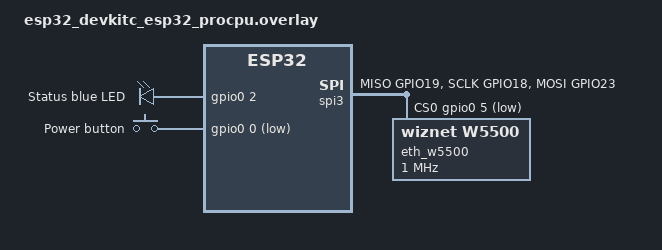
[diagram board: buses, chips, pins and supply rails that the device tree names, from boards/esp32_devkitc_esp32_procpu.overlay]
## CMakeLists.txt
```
cmake_minimum_required(VERSION 3.20.0)

find_package(Zephyr REQUIRED HINTS $ENV{ZEPHYR_BASE})
project(mqtt_field_bridge_app)

target_sources(app PRIVATE
  src/main.c
  src/product_config.c
  src/product_runtime.c
  src/product_topics.c
  src/product_console.c
  src/product_status_io.c
  src/bridge_control.c
  src/provisioning_http.c
  src/product_ethernet.c
)

target_include_directories(app PRIVATE src)
```

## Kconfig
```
source "Kconfig.zephyr"

config FIELD_BRIDGE_WIFI_TEST_PROFILE
	bool "Field bridge WiFi Linux AP hardware test profile"
	default n
	help
	  Use WiFi-oriented test defaults for hardware validation on ESP32
	  boards without W5500 modules.

config FIELD_BRIDGE_WIFI_STA_SSID
	string "Field bridge WiFi STA SSID"
	default ""

config FIELD_BRIDGE_WIFI_STA_PASSWORD
	string "Field bridge WiFi STA password"
	default ""

config FIELD_BRIDGE_WIFI_AP_SSID
	string "Field bridge WiFi SoftAP SSID"
	default ""

config FIELD_BRIDGE_WIFI_AP_PASSWORD
	string "Field bridge WiFi SoftAP password"
	default "open"

config FIELD_BRIDGE_WIFI_STATIC_PREFIX
	string "Field bridge WiFi static IPv4 prefix"
	default "10.88.0"

config FIELD_BRIDGE_WIFI_STATIC_GATEWAY
	string "Field bridge WiFi static IPv4 gateway"
	default "10.88.0.1"

config FIELD_BRIDGE_WIFI_STATIC_NETMASK
	string "Field bridge WiFi static IPv4 netmask"
	default "255.255.255.0"
```

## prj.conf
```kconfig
# Networking
CONFIG_NETWORKING=y
CONFIG_NET_TCP=y
CONFIG_NET_SOCKETS=y
CONFIG_NET_IPV4=y
CONFIG_NET_IPV6=n

# Ethernet network path
CONFIG_NET_L2_ETHERNET=y
CONFIG_NET_L2_ETHERNET_MGMT=y
CONFIG_ETH_W5500=y
CONFIG_SPI=y
CONFIG_GPIO=y
CONFIG_DEPHY_ETH=y

CONFIG_NET_DHCPV4=y
CONFIG_NET_IF_MAX_IPV4_COUNT=1
CONFIG_NET_IF_UNICAST_IPV4_ADDR_COUNT=2
CONFIG_NET_MGMT=y
CONFIG_NET_MGMT_EVENT=y
CONFIG_NET_MGMT_EVENT_INFO=y
CONFIG_HWINFO=y
CONFIG_NET_MAX_CONN=14
CONFIG_NET_MAX_CONTEXTS=16
CONFIG_ZVFS_OPEN_ADD_SIZE_NET=20
CONFIG_NET_ARP_TABLE_SIZE=8
CONFIG_NET_ARP_GRATUITOUS=y
CONFIG_NET_PKT_RX_COUNT=10
CONFIG_NET_PKT_TX_COUNT=10
CONFIG_NET_BUF_RX_COUNT=22
CONFIG_NET_BUF_TX_COUNT=22
# Ethernet provisioning web UI/API.
CONFIG_HTTP_SERVER=y
CONFIG_HTTP_SERVER_VERSION_1=y
CONFIG_HTTP_SERVER_VERSION_2=n
CONFIG_HTTP_SERVER_VERSION_3=n
CONFIG_HTTP_SERVER_NUM_SERVICES=1
CONFIG_HTTP_SERVER_MAX_CLIENTS=2
CONFIG_HTTP_SERVER_MAX_STREAMS=2
CONFIG_HTTP_SERVER_CLIENT_BUFFER_SIZE=768
CONFIG_HTTP_SERVER_MAX_URL_LENGTH=128
CONFIG_HTTP_SERVER_MAX_HEADER_LEN=64
CONFIG_HTTP_SERVER_STACK_SIZE=4096
CONFIG_ETH_W5500_RX_THREAD_STACK_SIZE=2048
CONFIG_ETH_W5500_RX_THREAD_PRIO=8
CONFIG_ETH_W5500_POLL_PERIOD=100
CONFIG_ETH_W5500_TIMEOUT=1000
CONFIG_NET_PROMISCUOUS_MODE=y

# mqtt_min_broker dependency
CONFIG_MQTT_MIN_BROKER=y
CONFIG_MQTT_MAX_CLIENTS=4
CONFIG_MQTT_ADMISSION_MAX_CLIENTS=2
CONFIG_MQTT_CLIENT_STACK_SIZE=6144
CONFIG_MQTT_P2P_DYNAMIC=y
CONFIG_MQTT_P2P_STATIC_SEEDS_ONLY=y
CONFIG_MQTT_P2P_PEER_MAX=2
CONFIG_MQTT_P2P_CONNECT_MS=15000
CONFIG_MQTT_P2P_CONNECT_BACKOFF_MAX_MS=120000
CONFIG_MQTT_P2P_REMOTE_SUBS_PER_NODE=4
CONFIG_MQTT_P2P_SHARD_OWNER_CACHE_SIZE=32

# Product app owns main() and UART CLI provisioning.
CONFIG_MQTT_STANDALONE=n
CONFIG_DEPHY_CONFIG=y
CONFIG_DEPHY_CLI=y

# Memory
CONFIG_HEAP_MEM_POOL_SIZE=32768
CONFIG_MAIN_STACK_SIZE=8192
CONFIG_SYSTEM_WORKQUEUE_STACK_SIZE=4096
CONFIG_LOG_BUFFER_SIZE=4096

# Logging
CONFIG_LOG=y
CONFIG_LOG_DEFAULT_LEVEL=2
CONFIG_LOG_MODE_DEFERRED=y
CONFIG_LOG_PROCESS_THREAD_SLEEP_MS=100
CONFIG_PRINTK=y
CONFIG_CONSOLE=y
CONFIG_UART_CONSOLE=y
CONFIG_CONSOLE_SUBSYS=y
CONFIG_CONSOLE_GETLINE=y
CONFIG_CONSOLE_INPUT_MAX_LINE_LEN=160
CONFIG_REBOOT=y

# NVS peer persistence
CONFIG_NVS=y
CONFIG_FLASH=y
CONFIG_FLASH_MAP=y
```

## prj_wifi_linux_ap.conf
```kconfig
# WiFi/Linux-AP hardware test profile for ESP32 boards without W5500 modules.
CONFIG_FIELD_BRIDGE_WIFI_TEST_PROFILE=y

# Replace W5500 Ethernet with ESP32 WiFi STA-only.
CONFIG_ETH_W5500=n
CONFIG_NET_L2_WIFI_MGMT=y
CONFIG_WIFI=y
CONFIG_WIFI_ESP32=y
CONFIG_WIFI_USAGE_MODE_STA=y
CONFIG_WIFI_STA_AUTO_DHCPV4=n
CONFIG_DEPHY_WIFI=y
CONFIG_DEPHY_ETH=n
CONFIG_HTTP_SERVER=n

# Stability-first WiFi STA profile. The bridge workload is small, so prefer
# bounded memory and shorter queues over throughput.
CONFIG_NET_DHCPV4=n
CONFIG_NET_DHCPV4_SERVER=n
CONFIG_NET_ARP_TABLE_SIZE=8
CONFIG_NET_ARP_GRATUITOUS=y
CONFIG_NET_MAX_CONN=8
CONFIG_NET_MAX_CONTEXTS=10
CONFIG_NET_TCP_TIME_WAIT_DELAY=0
CONFIG_NET_TCP_RETRY_COUNT=4
CONFIG_NET_PKT_RX_COUNT=12
CONFIG_NET_PKT_TX_COUNT=12
CONFIG_NET_BUF_RX_COUNT=28
CONFIG_NET_BUF_TX_COUNT=28
CONFIG_NET_SOCKET_MAX_SEND_WAIT=2000
CONFIG_ESP32_WIFI_AMPDU_RX_ENABLED=n
CONFIG_ESP32_WIFI_AMPDU_TX_ENABLED=n
CONFIG_ESP32_WIFI_STATIC_RX_BUFFER_NUM=6
CONFIG_ESP32_WIFI_DYNAMIC_RX_BUFFER_NUM=8
CONFIG_ESP32_WIFI_DYNAMIC_TX_BUFFER_NUM=8
CONFIG_ESP32_WIFI_RX_MGMT_BUF_NUM_DEF=5
CONFIG_ESP32_WIFI_MGMT_SBUF_NUM=16

# The WiFi validation uses a small chain, but dynamic P2P can briefly overlap
# inbound/outbound snapshots while peers settle.
CONFIG_MQTT_P2P_PEER_MAX=3
CONFIG_MQTT_P2P_STATIC_SEEDS_ONLY=y
CONFIG_MQTT_P2P_REMOTE_SUBS_PER_NODE=8
CONFIG_MQTT_P2P_SHARD_OWNER_CACHE_SIZE=64

# WiFi + HTTP + MQTT needs more headroom than the Ethernet profile.
CONFIG_HEAP_MEM_POOL_SIZE=32768
CONFIG_MAIN_STACK_SIZE=3072
CONFIG_SYSTEM_WORKQUEUE_STACK_SIZE=2048
CONFIG_LOG_PROCESS_THREAD_STACK_SIZE=1024
CONFIG_LOG_BUFFER_SIZE=1024
CONFIG_HTTP_SERVER_STACK_SIZE=3072
CONFIG_HTTP_SERVER_CLIENT_BUFFER_SIZE=512
```

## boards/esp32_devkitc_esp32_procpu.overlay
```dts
&pinctrl {
	spim3_w5500: spim3_w5500 {
		group1 {
			pinmux = <SPIM3_MISO_GPIO19>,
				 <SPIM3_SCLK_GPIO18>;
		};

		group2 {
			pinmux = <SPIM3_MOSI_GPIO23>;
			output-low;
		};
	};
};

/ {
	aliases {
		status-blue-led = &status_blue_led;
		power-button = &power_button;
	};

	gpio-leds {
		compatible = "gpio-leds";

		status_blue_led: status_blue_led {
			gpios = <&gpio0 2 GPIO_ACTIVE_HIGH>;
			label = "Status blue LED";
		};

	};

	gpio-keys {
		compatible = "gpio-keys";

		power_button: power_button {
			gpios = <&gpio0 0 (GPIO_PULL_UP | GPIO_ACTIVE_LOW)>;
			label = "Power button";
		};
	};
};

&spi3 {
	status = "okay";
	pinctrl-0 = <&spim3_w5500>;
	cs-gpios = <&gpio0 5 GPIO_ACTIVE_LOW>;

	eth_w5500: eth-w5500@0 {
		compatible = "wiznet,w5500";
		reg = <0>;
		spi-max-frequency = <1000000>;
		local-mac-address = [02 00 00 12 34 56];
	};
};
```

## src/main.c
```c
#include <errno.h>
#include <stdio.h>
#include <string.h>

#include <zephyr/kernel.h>
#include <zephyr/logging/log.h>
#include <zephyr/sys/reboot.h>

#include "broker.h"
#include "client.h"
#include "p2p.h"

#include "bridge_control.h"
#include "provisioning_http.h"
#include "product_console.h"
#include "product_config.h"
#include "product_ethernet.h"
#include "product_runtime.h"
#include "product_status_io.h"

LOG_MODULE_REGISTER(field_bridge_main, LOG_LEVEL_INF);

#define POWER_ON_SETTLE_MS              1500
#define W5500_LINK_TIMEOUT_MS           15000
#define W5500_LINK_SAMPLE_MS            250
#define W5500_LINK_STABLE_SAMPLES       4
#define HTTP_TO_BROKER_DELAY_MS         1500
#define BROKER_TO_P2P_DELAY_MS          1000
#define NETWORK_REBOOT_DELAY_MS         10000
#define BROKER_STAGGER_STEP_MS          750
#define BROKER_STAGGER_BUCKETS          8
#define MESH_PEER_LOSS_GRACE_MS         90000
#define MESH_PEER_LOSS_LOG_MS           60000

#ifdef __ZEPHYR__
#define BROKER_RUN_STACK_SIZE 3072
K_THREAD_STACK_DEFINE(broker_run_stack, BROKER_RUN_STACK_SIZE);
static struct k_thread broker_run_thread;

static void reboot_later(struct k_work *work);
K_WORK_DELAYABLE_DEFINE(status_button_reboot_work, reboot_later);

static void reboot_later(struct k_work *work)
{
    ARG_UNUSED(work);
    sys_reboot(SYS_REBOOT_COLD);
}

static void broker_activity(void *ctx)
{
    ARG_UNUSED(ctx);
    product_status_io_record_activity();
}

static void status_config_reset_press(void *ctx)
{
    ARG_UNUSED(ctx);

    if (product_config_reset_all() != 0) {
        LOG_ERR("power button config reset: config reset failed");
        return;
    }
    product_status_io_set_running(0);
    product_runtime_set_broker_enabled(0);
    LOG_INF("power button config reset: defaults restored, rebooting");
    k_work_schedule(&status_button_reboot_work, K_MSEC(500));
}

static void broker_service_entry(void *p1, void *p2, void *p3)
{
    ARG_UNUSED(p1);
    ARG_UNUSED(p2);
    ARG_UNUSED(p3);

    client_pool_init();
    if (broker_init() != 0) {
        LOG_ERR("broker_init failed");
        product_runtime_broker_failed("broker_init failed");
        product_status_io_set_error();
        return;
    }
    field_bridge_settings_t settings;
    if (product_config_get_settings(&settings) == 0 &&
        settings.broker.fallback_port != settings.broker.mqtt_port) {
        int rc = broker_start_mesh_ingress_listener(settings.broker.fallback_port);

        if (rc != 0) {
            LOG_WRN("fallback MQTT listener failed port=%u rc=%d",
                    settings.broker.fallback_port, rc);
        }
    }
    product_runtime_broker_started();

#if defined(CONFIG_MQTT_P2P_DYNAMIC)
#ifdef __ZEPHYR__
    k_sleep(K_MSEC(BROKER_TO_P2P_DELAY_MS));
#endif
    LOG_INF("p2p startup requested after broker_init success");
    p2p_start();
#else
    LOG_INF("p2p disabled by build config");
#endif

    broker_run();
}

static int broker_thread_started;

static int enabled_peer_count(void)
{
    int count = 0;

    for (int i = 0; i < FIELD_BRIDGE_PEER_MAX; i++) {
        field_bridge_peer_t peer;

        if (product_config_get_peer(i, &peer) == 0 && peer.enabled) {
            count++;
        }
    }
    return count;
}

static int startup_stagger_ms(const char *ip_addr)
{
    unsigned int a, b, c, d;

    if (!ip_addr || sscanf(ip_addr, "%u.%u.%u.%u", &a, &b, &c, &d) != 4) {
        return 0;
    }
    return (int)((d % BROKER_STAGGER_BUCKETS) * BROKER_STAGGER_STEP_MS);
}

static int start_broker_service(const field_bridge_settings_t *settings)
{
    if (broker_thread_started) {
        return 0;
    }
    if (!settings) {
        product_runtime_broker_failed("settings unavailable");
        product_status_io_set_error();
        return -EINVAL;
    }
    LOG_INF("broker startup requested: ip=%s mqtt=%u p2p=%u bridge=%u mesh=%u",
            settings->broker.broker_ip,
            settings->broker.mqtt_port,
            settings->broker.p2p_port,
            settings->broker.bridge_enabled,
            settings->broker.mesh_enabled);
    if (broker_set_bind_host(settings->broker.broker_ip) != 0) {
        LOG_ERR("invalid broker bind ip: %s", settings->broker.broker_ip);
        product_runtime_broker_failed("invalid broker bind ip");
        product_status_io_set_error();
        return -EINVAL;
    }
    if (broker_set_listen_port(settings->broker.mqtt_port) != 0) {
        LOG_ERR("invalid broker listen port: %u", settings->broker.mqtt_port);
        product_runtime_broker_failed("invalid broker listen port");
        product_status_io_set_error();
        return -EINVAL;
    }
    bridge_control_apply_peers();
    broker_set_activity_callback(broker_activity, NULL);
    product_status_io_set_running(1);
    k_thread_create(&broker_run_thread,
                    broker_run_stack,
                    K_THREAD_STACK_SIZEOF(broker_run_stack),
                    broker_service_entry,
                    NULL, NULL, NULL,
                    6, 0, K_NO_WAIT);
    k_thread_name_set(&broker_run_thread, "mqtt_broker");
    broker_thread_started = 1;
    return 0;
}
#endif

#if defined(__ZEPHYR__) && defined(CONFIG_ETH_W5500) && CONFIG_ETH_W5500
static int wait_for_w5500_link_stable(int timeout_ms)
{
    int elapsed_ms = 0;
    int stable_samples = 0;

    while (elapsed_ms < timeout_ms) {
        if (product_ethernet_link_ready()) {
            stable_samples++;
            if (stable_samples >= W5500_LINK_STABLE_SAMPLES) {
                LOG_INF("W5500 link stable after %d ms", elapsed_ms);
                return 0;
            }
        } else {
            stable_samples = 0;
        }
        k_sleep(K_MSEC(W5500_LINK_SAMPLE_MS));
        elapsed_ms += W5500_LINK_SAMPLE_MS;
    }
    LOG_WRN("W5500 link not stable after %d ms",
            timeout_ms);
    return -ETIMEDOUT;
}

#endif

static int start_broker_network(const field_bridge_settings_t *settings,
                                const char *eth_ip_addr,
                                char *ip_addr,
                                size_t ip_addr_cap,
                                uint8_t *active_mode)
{
    if (!settings || !eth_ip_addr || !ip_addr || ip_addr_cap == 0 || !active_mode) {
        return -EINVAL;
    }
    ip_addr[0] = '\0';
    *active_mode = settings->network.mode;

    switch (settings->network.mode) {
    case FIELD_BRIDGE_NETWORK_MODE_ETH:
        snprintf(ip_addr, ip_addr_cap, "%s", eth_ip_addr);
        *active_mode = FIELD_BRIDGE_NETWORK_MODE_ETH;
        return 0;
    case FIELD_BRIDGE_NETWORK_MODE_AUTO:
        snprintf(ip_addr, ip_addr_cap, "%s", eth_ip_addr);
        *active_mode = FIELD_BRIDGE_NETWORK_MODE_ETH;
        return 0;
    default:
        return -EINVAL;
    }
}

int main(void)
{
    LOG_INF("MQTT field bridge app starting");

#ifdef __ZEPHYR__
    k_sleep(K_MSEC(POWER_ON_SETTLE_MS));
#endif

    product_config_init();
    product_runtime_init();
    product_status_io_init(NULL, NULL, status_config_reset_press, NULL);
    product_console_start();

    field_bridge_settings_t settings;
    if (product_config_get_settings(&settings) == 0) {
        char ip_addr[FIELD_BRIDGE_HOST_MAX];
        char eth_ip_addr[FIELD_BRIDGE_HOST_MAX];
        char configured_ip[FIELD_BRIDGE_HOST_MAX];
        field_bridge_settings_t runtime_settings;
        uint8_t active_network_mode = settings.network.mode;
        uint8_t requested_dhcp = settings.network.dhcp_enabled;
        int eth_ready = 0;

        snprintf(configured_ip, sizeof(configured_ip), "%s",
                 settings.network.device_ip);

        LOG_INF("network startup requested: device=%s ip=%s broker_ip=%s dhcp=%u transport=%s",
                settings.system.device_name,
                settings.network.device_ip,
                settings.broker.broker_ip,
                settings.network.dhcp_enabled,
                product_config_network_mode_name(settings.network.mode));
        eth_ip_addr[0] = '\0';
        int eth_start_rc = product_ethernet_start(&settings, eth_ip_addr, sizeof(eth_ip_addr));

        LOG_INF("ethernet start result rc=%d ip=%s", eth_start_rc,
                eth_ip_addr[0] ? eth_ip_addr : "-");
#if defined(__ZEPHYR__) && defined(CONFIG_ETH_W5500) && CONFIG_ETH_W5500
        if (eth_start_rc == 0 &&
            wait_for_w5500_link_stable(W5500_LINK_TIMEOUT_MS) == 0) {
#else
        if (eth_start_rc == 0 && product_ethernet_link_ready()) {
#endif
            eth_ready = 1;
            int http_rc = provisioning_http_start();

            if (http_rc != 0) {
                LOG_ERR("provisioning HTTP start failed: %d", http_rc);
            }
        } else {
#if defined(__ZEPHYR__) && defined(CONFIG_ETH_W5500) && CONFIG_ETH_W5500
            LOG_ERR("W5500 management link unavailable; rebooting after slow retry window");
            product_runtime_broker_failed("ethernet link unavailable");
            product_status_io_set_error();
            k_sleep(K_MSEC(NETWORK_REBOOT_DELAY_MS));
            sys_reboot(SYS_REBOOT_COLD);
#endif
            LOG_INF("ethernet management unavailable; waiting for UART CLI provisioning");
            product_runtime_broker_failed("UART provisioning required");
            product_status_io_set_running(0);
#ifdef __ZEPHYR__
            while (1) {
                k_sleep(K_SECONDS(60));
            }
#else
            return 0;
#endif
        }

        if (start_broker_network(&settings, eth_ip_addr, ip_addr, sizeof(ip_addr),
                                 &active_network_mode) != 0) {
            product_runtime_broker_failed("network start failed");
            product_status_io_set_error();
            if (eth_ready) {
                LOG_INF("management web remains available on ethernet for reconfiguration");
#ifdef __ZEPHYR__
                k_thread_priority_set(k_current_get(), 7);
                while (1) {
                    k_sleep(K_SECONDS(60));
                }
#endif
            }
            return -1;
        }
        LOG_INF("network active transport=%s ip=%s",
                product_config_network_mode_name(active_network_mode),
                ip_addr[0] ? ip_addr : "-");
        runtime_settings = settings;
        if (ip_addr[0] && active_network_mode == FIELD_BRIDGE_NETWORK_MODE_ETH) {
            snprintf(runtime_settings.network.device_ip,
                     sizeof(runtime_settings.network.device_ip), "%s", ip_addr);
            if (runtime_settings.network.dhcp_enabled ||
                runtime_settings.broker.broker_ip[0] == '\0' ||
                strcmp(runtime_settings.broker.broker_ip, "0.0.0.0") == 0) {
                snprintf(runtime_settings.broker.broker_ip,
                         sizeof(runtime_settings.broker.broker_ip), "%s", ip_addr);
            }
        }
        if (requested_dhcp && configured_ip[0] &&
            strcmp(ip_addr, configured_ip) == 0) {
            runtime_settings.network.dhcp_enabled = 0;
        }
        runtime_settings.network.mode = active_network_mode;
        product_runtime_network_start(&runtime_settings);
        if (!product_runtime_network_ready()) {
            product_runtime_broker_failed("network not ready");
            product_status_io_set_error();
            return -1;
        }
        if (active_network_mode == FIELD_BRIDGE_NETWORK_MODE_ETH &&
            !runtime_settings.broker.broker_enabled) {
            runtime_settings.broker.broker_enabled = 1;
            (void)product_config_set_settings(&runtime_settings);
            LOG_INF("broker_enabled was disabled; enabling for power-on startup");
        }
        settings = runtime_settings;
    } else {
        product_runtime_broker_failed("settings unavailable");
        product_status_io_set_error();
        return -1;
    }

    bridge_control_init();

#if defined(CONFIG_ETH_W5500) && CONFIG_ETH_W5500
    LOG_INF("W5500 management web ready; staged broker auto-start");
    k_sleep(K_MSEC(HTTP_TO_BROKER_DELAY_MS));
    {
        int stagger_ms = startup_stagger_ms(settings.broker.broker_ip);

        if (stagger_ms > 0) {
            LOG_INF("broker startup stagger %d ms", stagger_ms);
            k_sleep(K_MSEC(stagger_ms));
        }
    }
    int64_t broker_started_ms = 0;
    int64_t peer_zero_since_ms = 0;
    int64_t peer_zero_last_log_ms = 0;
    while (1) {
        if (!broker_thread_started) {
            field_bridge_settings_t requested_settings;

            if (product_config_get_settings(&requested_settings) != 0) {
                product_runtime_broker_failed("settings unavailable");
                product_status_io_set_error();
            } else {
                if (start_broker_service(&requested_settings) == 0) {
                    broker_started_ms = k_uptime_get();
                    peer_zero_since_ms = 0;
                }
            }
        } else if (product_runtime_broker_start_requested()) {
            field_bridge_settings_t requested_settings;

            if (product_config_get_settings(&requested_settings) == 0) {
                (void)start_broker_service(&requested_settings);
            }
        } else if (settings.broker.mesh_enabled && enabled_peer_count() > 0 &&
                   broker_started_ms > 0 &&
                   k_uptime_get() - broker_started_ms > MESH_PEER_LOSS_GRACE_MS) {
            field_bridge_runtime_status_t status;

            if (product_runtime_get_status(&status) == 0) {
                if (status.connected_peers == 0) {
                    if (peer_zero_since_ms == 0) {
                        peer_zero_since_ms = k_uptime_get();
                        peer_zero_last_log_ms = peer_zero_since_ms;
                        LOG_WRN("mesh peers all disconnected; local broker remains active");
                    } else if (k_uptime_get() - peer_zero_last_log_ms >
                               MESH_PEER_LOSS_LOG_MS) {
                        peer_zero_last_log_ms = k_uptime_get();
                        LOG_WRN("mesh peers still disconnected; keeping local broker/web online");
                    }
                } else {
                    peer_zero_since_ms = 0;
                    peer_zero_last_log_ms = 0;
                }
            }
        }
        k_sleep(K_SECONDS(10));
    }
#endif

    if (!settings.broker.broker_enabled) {
        LOG_INF("broker disabled by product config");
        product_runtime_set_broker_enabled(0);
        product_status_io_set_running(0);
#ifdef __ZEPHYR__
        k_thread_priority_set(k_current_get(), 7);
        while (1) {
            k_sleep(K_SECONDS(60));
        }
#endif
        return 0;
    }

    LOG_INF("broker startup requested: ip=%s mqtt=%u p2p=%u bridge=%u mesh=%u",
            settings.broker.broker_ip,
            settings.broker.mqtt_port,
            settings.broker.p2p_port,
            settings.broker.bridge_enabled,
            settings.broker.mesh_enabled);
    if (broker_set_bind_host(settings.broker.broker_ip) != 0) {
        LOG_ERR("invalid broker bind ip: %s", settings.broker.broker_ip);
        product_runtime_broker_failed("invalid broker bind ip");
        product_status_io_set_error();
        return -1;
    }
    if (broker_set_listen_port(settings.broker.mqtt_port) != 0) {
        LOG_ERR("invalid broker listen port: %u", settings.broker.mqtt_port);
        product_runtime_broker_failed("invalid broker listen port");
        product_status_io_set_error();
        return -1;
    }
    broker_set_activity_callback(broker_activity, NULL);
    product_status_io_set_running(1);

#ifdef __ZEPHYR__
    k_thread_create(&broker_run_thread,
                    broker_run_stack,
                    K_THREAD_STACK_SIZEOF(broker_run_stack),
                    broker_service_entry,
                    NULL, NULL, NULL,
                    6, 0, K_NO_WAIT);
    k_thread_name_set(&broker_run_thread, "mqtt_broker");
    k_thread_priority_set(k_current_get(), 7);
    while (1) {
        k_sleep(K_SECONDS(60));
    }
#else
    client_pool_init();
    if (broker_init() != 0) {
        LOG_ERR("broker_init failed");
        product_runtime_broker_failed("broker_init failed");
        product_status_io_set_error();
        return -1;
    }
    if (settings.broker.fallback_port != settings.broker.mqtt_port) {
        int rc = broker_start_mesh_ingress_listener(settings.broker.fallback_port);

        if (rc != 0) {
            LOG_WRN("fallback MQTT listener failed port=%u rc=%d",
                    settings.broker.fallback_port, rc);
        }
    }
    product_runtime_broker_started();
#if defined(CONFIG_MQTT_P2P_DYNAMIC)
    k_sleep(K_MSEC(BROKER_TO_P2P_DELAY_MS));
    LOG_INF("p2p startup requested after broker_init success");
    p2p_start();
#else
    LOG_INF("p2p disabled by build config");
#endif
    broker_run();
#endif
    return 0;
}
```

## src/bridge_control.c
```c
#include <string.h>
#include <stdint.h>
#include <zephyr/logging/log.h>

#include "bridge_control.h"
#include "product_config.h"
#include "p2p.h"

#ifndef __ZEPHYR__
#include <arpa/inet.h>
#define BRIDGE_INET_PTON(af, src, dst) inet_pton((af), (src), (dst))

__attribute__((weak)) void p2p_static_seed_clear(void)
{
}

__attribute__((weak)) int p2p_static_seed_add(uint32_t addr, uint16_t p2p_port)
{
    (void)addr;
    (void)p2p_port;
    return 0;
}
#else
#include <zephyr/net/socket.h>
#define BRIDGE_INET_PTON(af, src, dst) zsock_inet_pton((af), (src), (dst))
#endif

#if !defined(__ZEPHYR__) || defined(CONFIG_MQTT_P2P_DYNAMIC)
#define BRIDGE_CONTROL_HAS_P2P 1
#endif

LOG_MODULE_REGISTER(bridge_control, LOG_LEVEL_INF);

void bridge_control_init(void)
{
    LOG_INF("bridge control initialized");
    bridge_control_apply_peers();
}

int bridge_control_apply_peers(void)
{
#if !defined(BRIDGE_CONTROL_HAS_P2P)
    LOG_INF("apply_peers: p2p disabled by build config");
    return 0;
#endif

    int enabled = 0;
    field_bridge_settings_t settings;

    p2p_static_seed_clear();

    if (product_config_get_settings(&settings) != 0 ||
        !settings.broker.bridge_enabled) {
        LOG_INF("apply_peers: bridge disabled");
        return 0;
    }

    for (int i = 0; i < FIELD_BRIDGE_PEER_MAX; i++) {
        field_bridge_peer_t peer;
        uint32_t addr;

        if (product_config_get_peer(i, &peer) != 0) {
            continue;
        }
        if (!peer.enabled) {
            continue;
        }
        if (peer.host[0] == '\0') {
            LOG_WRN("peer %d: enabled but host empty, skipping", i);
            continue;
        }
        if (peer.mqtt_port == 0 || peer.p2p_port == 0) {
            LOG_WRN("peer %d: zero port (mqtt=%u p2p=%u), skipping",
                    i, peer.mqtt_port, peer.p2p_port);
            continue;
        }
        if (BRIDGE_INET_PTON(AF_INET, peer.host, &addr) != 1) {
            LOG_WRN("peer %d: host is not an IPv4 static seed: %s",
                    i, peer.host);
            continue;
        }
        if (p2p_static_seed_add(addr, peer.p2p_port) != 0) {
            LOG_WRN("peer %d: static seed table full or invalid", i);
            continue;
        }
        LOG_INF("peer %d: %s mqtt=%u p2p=%u",
                i, peer.host, peer.mqtt_port, peer.p2p_port);
        enabled++;
    }

    LOG_INF("apply_peers: %d peer(s) active", enabled);
    return enabled;
}
```

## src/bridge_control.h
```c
#ifndef BRIDGE_CONTROL_H
#define BRIDGE_CONTROL_H

void bridge_control_init(void);

/* Returns the number of valid, enabled peers applied. */
int bridge_control_apply_peers(void);

#endif /* BRIDGE_CONTROL_H */
```

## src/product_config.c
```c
#include <string.h>

#if defined(__ZEPHYR__) && defined(CONFIG_HWINFO)
#include <zephyr/drivers/hwinfo.h>
#endif
#include <zephyr/logging/log.h>

#include <dephy_config/config_store.h>

#include "product_config.h"

LOG_MODULE_REGISTER(product_config, LOG_LEVEL_INF);

static field_bridge_peer_t peers[FIELD_BRIDGE_PEER_MAX];
static field_bridge_settings_t settings;
static uint8_t settings_loaded_from_store;

#if defined(__ZEPHYR__) && defined(CONFIG_HWINFO)
static void apply_known_esp32_default_ip(void)
{
    static const struct {
        uint8_t id_tail[3];
        const char *ip;
    } known_boards[] = {
        { { 0x60, 0x37, 0x28 }, "192.168.127.10" },
        { { 0x0c, 0x5d, 0xd8 }, "192.168.127.11" },
        { { 0x60, 0x39, 0xe8 }, "192.168.127.12" },
        { { 0x0c, 0x20, 0x90 }, "192.168.127.13" },
        { { 0x09, 0xc4, 0x04 }, "192.168.127.14" },
        { { 0x5a, 0xb4, 0x1c }, "192.168.127.15" },
    };
    uint8_t device_id[8];
    ssize_t len = hwinfo_get_device_id(device_id, sizeof(device_id));

    if (len < 3) {
        return;
    }

    for (size_t i = 0; i < sizeof(known_boards) / sizeof(known_boards[0]); i++) {
        const uint8_t *tail = &device_id[(size_t)len - 3];

        if (memcmp(tail, known_boards[i].id_tail, 3) != 0) {
            continue;
        }

        strncpy(settings.network.device_ip, known_boards[i].ip,
                sizeof(settings.network.device_ip) - 1);
        strncpy(settings.broker.broker_ip, known_boards[i].ip,
                sizeof(settings.broker.broker_ip) - 1);
        LOG_INF("known ESP32 default IP set to %s", known_boards[i].ip);
        return;
    }
}
#else
static void apply_known_esp32_default_ip(void)
{
}
#endif

static void settings_defaults(void)
{
    memset(&settings, 0, sizeof(settings));
    strncpy(settings.system.device_name, "esp32-min-broker",
            sizeof(settings.system.device_name) - 1);
    strncpy(settings.network.device_ip, "192.168.127.10",
            sizeof(settings.network.device_ip) - 1);
    strncpy(settings.network.gateway, "192.168.127.5",
            sizeof(settings.network.gateway) - 1);
    strncpy(settings.network.netmask, "255.255.0.0",
            sizeof(settings.network.netmask) - 1);
    strncpy(settings.network.dns, "192.168.127.5",
            sizeof(settings.network.dns) - 1);
    settings.network.dhcp_enabled = 0;
    strncpy(settings.broker.broker_ip, "192.168.127.10",
            sizeof(settings.broker.broker_ip) - 1);
    apply_known_esp32_default_ip();
    settings.network.mode = FIELD_BRIDGE_NETWORK_MODE_AUTO;
    strncpy(settings.broker.site_id, "field-a",
            sizeof(settings.broker.site_id) - 1);
    strncpy(settings.broker.topic_prefix, "site/field-a",
            sizeof(settings.broker.topic_prefix) - 1);
    settings.broker.mqtt_port = 1883;
    settings.broker.p2p_port = 4884;
    settings.broker.fallback_port = 1884;
    settings.broker.broker_enabled = 1;
    settings.broker.bridge_enabled = 1;
    settings.broker.mesh_enabled = 1;
}

static void settings_large_defaults(void)
{
    settings_defaults();
    strncpy(settings.system.device_name, "esp32-field-router",
            sizeof(settings.system.device_name) - 1);
    strncpy(settings.broker.site_id, "field-large",
            sizeof(settings.broker.site_id) - 1);
    strncpy(settings.broker.topic_prefix, "site/field-large",
            sizeof(settings.broker.topic_prefix) - 1);
}

static int valid_bool(uint8_t v)
{
    return v <= 1;
}

static int valid_network_mode(uint8_t mode)
{
    return mode == FIELD_BRIDGE_NETWORK_MODE_AUTO ||
           mode == FIELD_BRIDGE_NETWORK_MODE_ETH;
}

static int valid_port(uint16_t port)
{
    return port > 0;
}

static int valid_nonempty(const char *s)
{
    return s && s[0] != '\0';
}

static int validate_peer(const field_bridge_peer_t *peer)
{
    if (!peer || !valid_bool(peer->enabled)) {
        return -1;
    }
    if (peer->enabled &&
        (!valid_nonempty(peer->host) ||
         !valid_port(peer->mqtt_port) ||
         !valid_port(peer->p2p_port))) {
        return -1;
    }
    return 0;
}

static int validate_settings(const field_bridge_settings_t *cfg)
{
    if (!cfg) {
        return -1;
    }
    if (!valid_nonempty(cfg->system.device_name)) {
        return -1;
    }
    if (!valid_nonempty(cfg->network.device_ip) ||
        !valid_nonempty(cfg->network.gateway) ||
        !valid_nonempty(cfg->network.netmask) ||
        !valid_nonempty(cfg->network.dns) ||
        !valid_bool(cfg->network.dhcp_enabled) ||
        !valid_network_mode(cfg->network.mode)) {
        return -1;
    }
    if (!valid_nonempty(cfg->broker.broker_ip) ||
        !valid_nonempty(cfg->broker.site_id) ||
        !valid_nonempty(cfg->broker.topic_prefix) ||
        !valid_port(cfg->broker.mqtt_port) ||
        !valid_port(cfg->broker.p2p_port) ||
        !valid_port(cfg->broker.fallback_port) ||
        !valid_bool(cfg->broker.broker_enabled) ||
        !valid_bool(cfg->broker.bridge_enabled) ||
        !valid_bool(cfg->broker.mesh_enabled)) {
        return -1;
    }
    if (cfg->broker.fallback_port == cfg->broker.mqtt_port ||
        cfg->broker.fallback_port == cfg->broker.p2p_port ||
        cfg->broker.fallback_port == 8080) {
        return -1;
    }
    return 0;
}

#define PEER_KEY_BASE 1
#define SETTINGS_KEY  100

static int persist_save_settings(void);

typedef struct {
    field_bridge_system_settings_t system;
    field_bridge_network_settings_t network;
    struct {
        char broker_ip[FIELD_BRIDGE_HOST_MAX];
        char site_id[FIELD_BRIDGE_SITE_MAX];
        char topic_prefix[FIELD_BRIDGE_TOPIC_MAX];
        uint16_t mqtt_port;
        uint16_t p2p_port;
        uint8_t broker_enabled;
        uint8_t bridge_enabled;
        uint8_t mesh_enabled;
    } broker;
} field_bridge_settings_v1_t;

static int load_legacy_settings(field_bridge_settings_t *out)
{
    field_bridge_settings_v1_t legacy;

    if (!out ||
        dephy_config_store_load(SETTINGS_KEY, &legacy, sizeof(legacy)) != 0) {
        return -1;
    }
    memset(out, 0, sizeof(*out));
    out->system = legacy.system;
    out->network = legacy.network;
    strncpy(out->broker.broker_ip, legacy.broker.broker_ip,
            sizeof(out->broker.broker_ip) - 1);
    strncpy(out->broker.site_id, legacy.broker.site_id,
            sizeof(out->broker.site_id) - 1);
    strncpy(out->broker.topic_prefix, legacy.broker.topic_prefix,
            sizeof(out->broker.topic_prefix) - 1);
    out->broker.mqtt_port = legacy.broker.mqtt_port;
    out->broker.p2p_port = legacy.broker.p2p_port;
    out->broker.fallback_port = 1884;
    out->broker.broker_enabled = legacy.broker.broker_enabled;
    out->broker.bridge_enabled = legacy.broker.bridge_enabled;
    out->broker.mesh_enabled = legacy.broker.mesh_enabled;
    return validate_settings(out);
}

static void persist_load(void)
{
    settings_loaded_from_store = 0;
    if (dephy_config_store_init() != 0) {
        return;
    }
    for (int i = 0; i < FIELD_BRIDGE_PEER_MAX; i++) {
        if (dephy_config_store_load((dephy_config_key_t)(PEER_KEY_BASE + i),
                                    &peers[i], sizeof(peers[i])) != 0) {
            memset(&peers[i], 0, sizeof(peers[i]));
        }
    }
    if (dephy_config_store_load(SETTINGS_KEY, &settings, sizeof(settings)) == 0 &&
        validate_settings(&settings) == 0) {
        settings_loaded_from_store = 1;
    } else if (load_legacy_settings(&settings) == 0) {
        (void)persist_save_settings();
        settings_loaded_from_store = 1;
    } else {
        settings_defaults();
    }
}

static int persist_save(int idx)
{
    return dephy_config_store_save((dephy_config_key_t)(PEER_KEY_BASE + idx),
                                   &peers[idx], sizeof(peers[idx]));
}

static int persist_save_settings(void)
{
    return dephy_config_store_save(SETTINGS_KEY, &settings, sizeof(settings));
}

void product_config_init(void)
{
    memset(peers, 0, sizeof(peers));
    settings_defaults();
    settings_loaded_from_store = 0;
    persist_load();
    LOG_INF("product config initialized");
}

int product_config_has_saved_settings(void)
{
    return settings_loaded_from_store ? 1 : 0;
}

int product_config_peer_count(void)
{
    return FIELD_BRIDGE_PEER_MAX;
}

int product_config_get_peer(int index, field_bridge_peer_t *out)
{
    if (!out || index < 0 || index >= FIELD_BRIDGE_PEER_MAX) {
        return -1;
    }

    *out = peers[index];
    return 0;
}

int product_config_set_peer(int index, const field_bridge_peer_t *peer)
{
    if (index < 0 || index >= FIELD_BRIDGE_PEER_MAX ||
        validate_peer(peer) != 0) {
        return -1;
    }

    peers[index] = *peer;
    return persist_save(index);
}

int product_config_get_settings(field_bridge_settings_t *out)
{
    if (!out) {
        return -1;
    }

    *out = settings;
    return 0;
}

int product_config_set_settings(const field_bridge_settings_t *new_settings)
{
    if (validate_settings(new_settings) != 0) {
        return -1;
    }

    settings = *new_settings;
    if (persist_save_settings() != 0) {
        return -1;
    }
    settings_loaded_from_store = 1;
    return 0;
}

int product_config_reset_all(void)
{
    memset(peers, 0, sizeof(peers));
    settings_defaults();
    for (int i = 0; i < FIELD_BRIDGE_PEER_MAX; i++) {
        if (persist_save(i) != 0) {
            return -1;
        }
    }
    if (persist_save_settings() != 0) {
        return -1;
    }
    settings_loaded_from_store = 1;
    return 0;
}

int product_config_apply_defaults(field_bridge_defaults_profile_t profile)
{
    memset(peers, 0, sizeof(peers));
    switch (profile) {
    case FIELD_BRIDGE_PROFILE_SMALL:
        settings_defaults();
        break;
    case FIELD_BRIDGE_PROFILE_LARGE:
        settings_large_defaults();
        break;
    default:
        return -1;
    }
    for (int i = 0; i < FIELD_BRIDGE_PEER_MAX; i++) {
        if (persist_save(i) != 0) {
            return -1;
        }
    }
    if (persist_save_settings() != 0) {
        return -1;
    }
    settings_loaded_from_store = 1;
    return 0;
}

const char *product_config_network_mode_name(uint8_t mode)
{
    switch (mode) {
    case FIELD_BRIDGE_NETWORK_MODE_AUTO:
        return "auto";
    case FIELD_BRIDGE_NETWORK_MODE_ETH:
        return "eth";
    default:
        return "unknown";
    }
}

int product_config_network_mode_from_name(const char *name, uint8_t *mode)
{
    if (!name || !mode) {
        return -1;
    }
    if (strcmp(name, "auto") == 0) {
        *mode = FIELD_BRIDGE_NETWORK_MODE_AUTO;
        return 0;
    }
    if (strcmp(name, "eth") == 0 || strcmp(name, "ethernet") == 0) {
        *mode = FIELD_BRIDGE_NETWORK_MODE_ETH;
        return 0;
    }
    return -1;
}
```

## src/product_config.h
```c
#ifndef PRODUCT_CONFIG_H
#define PRODUCT_CONFIG_H

#include <stdint.h>

#ifndef FIELD_BRIDGE_PEER_MAX
#define FIELD_BRIDGE_PEER_MAX 2
#endif
#define FIELD_BRIDGE_NAME_MAX 32
#define FIELD_BRIDGE_HOST_MAX 64
#define FIELD_BRIDGE_SITE_MAX 32
#define FIELD_BRIDGE_TOPIC_MAX 64

typedef struct {
    char name[FIELD_BRIDGE_NAME_MAX];
    char host[FIELD_BRIDGE_HOST_MAX];
    uint16_t mqtt_port;
    uint16_t p2p_port;
    uint8_t enabled;
} field_bridge_peer_t;

typedef struct {
    char device_name[FIELD_BRIDGE_NAME_MAX];
} field_bridge_system_settings_t;

typedef enum {
    FIELD_BRIDGE_NETWORK_MODE_AUTO = 0,
    FIELD_BRIDGE_NETWORK_MODE_ETH = 1,
} field_bridge_network_mode_t;

typedef struct {
    char device_ip[FIELD_BRIDGE_HOST_MAX];
    char gateway[FIELD_BRIDGE_HOST_MAX];
    char netmask[FIELD_BRIDGE_HOST_MAX];
    char dns[FIELD_BRIDGE_HOST_MAX];
    uint8_t dhcp_enabled;
    uint8_t mode;
} field_bridge_network_settings_t;

typedef struct {
    char broker_ip[FIELD_BRIDGE_HOST_MAX];
    char site_id[FIELD_BRIDGE_SITE_MAX];
    char topic_prefix[FIELD_BRIDGE_TOPIC_MAX];
    uint16_t mqtt_port;
    uint16_t p2p_port;
    uint16_t fallback_port;
    uint8_t broker_enabled;
    uint8_t bridge_enabled;
    uint8_t mesh_enabled;
} field_bridge_broker_settings_t;

typedef struct {
    field_bridge_system_settings_t system;
    field_bridge_network_settings_t network;
    field_bridge_broker_settings_t broker;
} field_bridge_settings_t;

typedef enum {
    FIELD_BRIDGE_PROFILE_SMALL = 0,
    FIELD_BRIDGE_PROFILE_LARGE = 1,
} field_bridge_defaults_profile_t;

void product_config_init(void);
int product_config_has_saved_settings(void);
int product_config_peer_count(void);
int product_config_get_peer(int index, field_bridge_peer_t *out);
int product_config_set_peer(int index, const field_bridge_peer_t *peer);
int product_config_get_settings(field_bridge_settings_t *out);
int product_config_set_settings(const field_bridge_settings_t *settings);
int product_config_reset_all(void);
int product_config_apply_defaults(field_bridge_defaults_profile_t profile);
const char *product_config_network_mode_name(uint8_t mode);
int product_config_network_mode_from_name(const char *name, uint8_t *mode);

#endif /* PRODUCT_CONFIG_H */
```

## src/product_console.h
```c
#ifndef PRODUCT_CONSOLE_H
#define PRODUCT_CONSOLE_H

#include <stddef.h>

typedef void (*product_console_write_fn)(void *ctx, const char *text);
typedef void (*product_console_reboot_fn)(void *ctx);

int product_console_handle_line(char *line,
                                product_console_write_fn write_fn,
                                void *write_ctx,
                                product_console_reboot_fn reboot_fn,
                                void *reboot_ctx);
void product_console_start(void);

#endif /* PRODUCT_CONSOLE_H */
```

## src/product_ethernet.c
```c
#include <errno.h>
#include <string.h>

#if !defined(__ZEPHYR__) || defined(CONFIG_DEPHY_ETH)
#include <dephy_eth/eth.h>
#define PRODUCT_HAS_DEPHY_ETH 1
#else
#define PRODUCT_HAS_DEPHY_ETH 0
#endif

#include "product_ethernet.h"

#if defined(__ZEPHYR__) && PRODUCT_HAS_DEPHY_ETH
#include <zephyr/net/ethernet.h>
#include <zephyr/net/net_if.h>
#include <zephyr/net/net_l2.h>
#endif

#if PRODUCT_HAS_DEPHY_ETH
static void copy_field(char *dst, size_t dst_cap, const char *src)
{
    if (!dst || dst_cap == 0) {
        return;
    }
    dst[0] = '\0';
    if (src) {
        strncpy(dst, src, dst_cap - 1);
        dst[dst_cap - 1] = '\0';
    }
}
#endif

int product_ethernet_start(const field_bridge_settings_t *settings,
                           char *ip_addr,
                           size_t ip_addr_cap)
{
#if PRODUCT_HAS_DEPHY_ETH
    dephy_eth_settings_t eth_settings;

    if (!settings || !ip_addr || ip_addr_cap == 0) {
        return -EINVAL;
    }

    memset(&eth_settings, 0, sizeof(eth_settings));
    copy_field(eth_settings.device_ip, sizeof(eth_settings.device_ip),
               settings->network.device_ip);
    copy_field(eth_settings.service_ip, sizeof(eth_settings.service_ip),
               settings->broker.broker_ip);
    copy_field(eth_settings.gateway, sizeof(eth_settings.gateway),
               settings->network.gateway);
    copy_field(eth_settings.netmask, sizeof(eth_settings.netmask),
               settings->network.netmask);
    copy_field(eth_settings.dns, sizeof(eth_settings.dns),
               settings->network.dns);
    eth_settings.dhcp_enabled = settings->network.dhcp_enabled;

    return dephy_eth_start(&eth_settings, ip_addr, ip_addr_cap);
#else
    (void)settings;
    (void)ip_addr;
    (void)ip_addr_cap;
    return -ENODEV;
#endif
}

int product_ethernet_link_ready(void)
{
#if defined(__ZEPHYR__) && PRODUCT_HAS_DEPHY_ETH
    struct net_if *iface = net_if_get_first_by_type(&NET_L2_GET_NAME(ETHERNET));

    return iface && net_if_is_up(iface) && net_if_is_carrier_ok(iface);
#elif !defined(__ZEPHYR__)
    return 1;
#else
    return 0;
#endif
}
```

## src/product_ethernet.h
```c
#ifndef PRODUCT_ETHERNET_H
#define PRODUCT_ETHERNET_H

#include <stddef.h>

#include "product_config.h"

int product_ethernet_start(const field_bridge_settings_t *settings,
                           char *ip_addr,
                           size_t ip_addr_cap);
int product_ethernet_link_ready(void);

#endif /* PRODUCT_ETHERNET_H */
```

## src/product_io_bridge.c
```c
#include "product_io_bridge.h"

#include <dephy_industrial_io/payload.h>

int product_io_bridge_format_state(char *topic,
                                   size_t topic_size,
                                   char *payload,
                                   size_t payload_size,
                                   const char *site,
                                   const char *node,
                                   const dephy_io_sample_t *sample)
{
    if (!topic || !payload || !sample || !sample->name) {
        return -1;
    }
    if (dephy_io_format_topic(topic, topic_size, site, node, sample->name, "state") <= 0) {
        return -1;
    }
    if (dephy_io_format_sample_json(payload, payload_size, sample) <= 0) {
        return -1;
    }
    return 0;
}
```

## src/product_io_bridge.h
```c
#ifndef PRODUCT_IO_BRIDGE_H
#define PRODUCT_IO_BRIDGE_H

#include <stddef.h>

#include <dephy_industrial_io/industrial_io.h>

int product_io_bridge_format_state(char *topic,
                                   size_t topic_size,
                                   char *payload,
                                   size_t payload_size,
                                   const char *site,
                                   const char *node,
                                   const dephy_io_sample_t *sample);

#endif
```

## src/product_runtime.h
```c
#ifndef PRODUCT_RUNTIME_H
#define PRODUCT_RUNTIME_H

#include <stdint.h>

#include "product_config.h"
#include "product_version.h"

#define FIELD_BRIDGE_STATE_MAX 16
#define FIELD_BRIDGE_VERSION_MAX 32
#define FIELD_BRIDGE_ERROR_MAX 96
#define FIELD_BRIDGE_TOPIC_FULL_MAX 128
#define FIELD_BRIDGE_PAYLOAD_MAX 256

typedef struct {
    char firmware_version[FIELD_BRIDGE_VERSION_MAX];
    uint16_t config_version;
    char network_state[FIELD_BRIDGE_STATE_MAX];
    char ip_addr[FIELD_BRIDGE_HOST_MAX];
    char broker_state[FIELD_BRIDGE_STATE_MAX];
    char p2p_role[FIELD_BRIDGE_STATE_MAX];
    uint8_t connected_peers;
    uint16_t remote_subscriptions;
    char last_error[FIELD_BRIDGE_ERROR_MAX];
} field_bridge_runtime_status_t;

typedef struct {
    char topic[FIELD_BRIDGE_TOPIC_FULL_MAX];
    char payload[FIELD_BRIDGE_PAYLOAD_MAX];
    uint8_t qos;
    uint8_t retain;
} field_bridge_publish_test_t;

typedef struct {
    uint8_t index;
    char name[FIELD_BRIDGE_NAME_MAX];
    char host[FIELD_BRIDGE_HOST_MAX];
    uint16_t p2p_port;
    uint8_t enabled;
    char state[FIELD_BRIDGE_STATE_MAX];
    char last_error[FIELD_BRIDGE_ERROR_MAX];
} field_bridge_peer_status_t;

void product_runtime_init(void);
void product_runtime_network_start(const field_bridge_settings_t *settings);
int product_runtime_network_ready(void);
void product_runtime_broker_started(void);
void product_runtime_broker_failed(const char *error);
int product_runtime_set_broker_enabled(uint8_t enabled);
int product_runtime_broker_start_requested(void);
int product_runtime_get_status(field_bridge_runtime_status_t *out);
int product_runtime_get_peer_statuses(field_bridge_peer_status_t *out, int max);
int product_runtime_record_publish_test(const field_bridge_publish_test_t *test);
int product_runtime_get_last_publish_test(field_bridge_publish_test_t *out);

#endif /* PRODUCT_RUNTIME_H */
```
